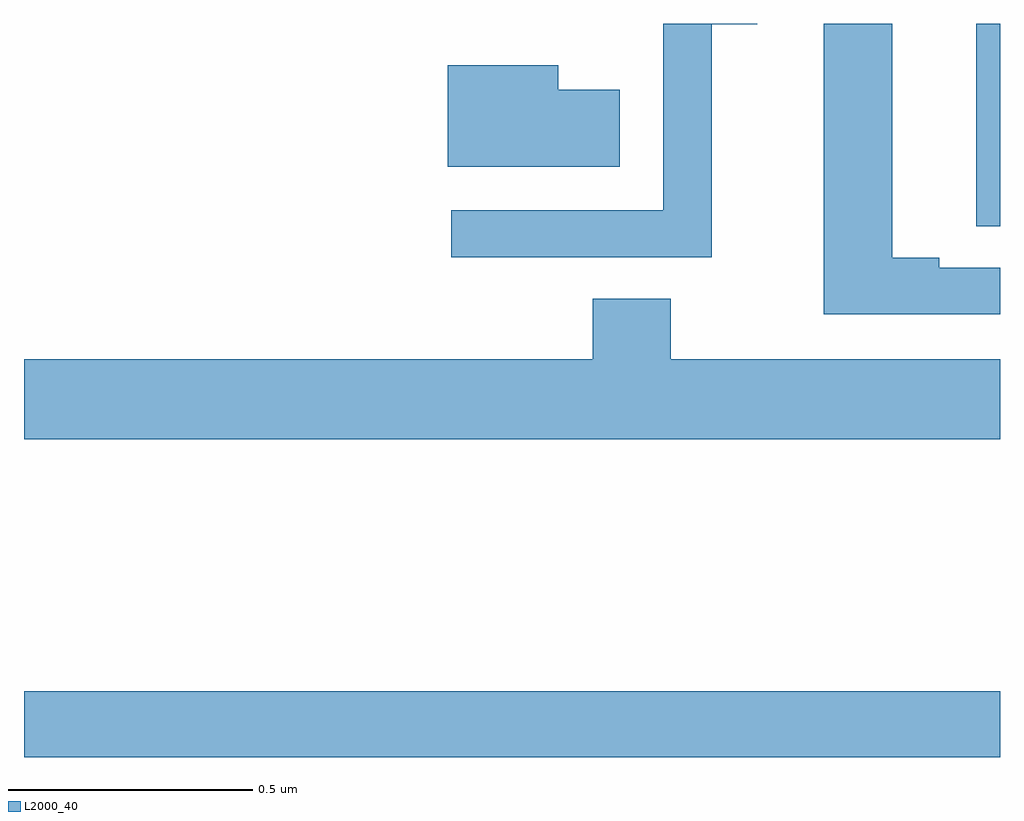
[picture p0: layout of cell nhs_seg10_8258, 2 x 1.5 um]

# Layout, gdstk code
import gdstk
lib = gdstk.Library(unit=1e-6, precision=1e-09)
def R(c, l, rs):  # rectangles x0, y0, x1, y1
    for r in rs: c.add(gdstk.rectangle(r[:2], r[2:], *l))
def P(c, l, *ps):  # polygons
    for p in ps: c.add(gdstk.Polygon(p, *l))
L2000_40 = (2000, 40)

nhs_seg10_8258 = lib.new_cell('nhs_seg10_8258')
R(nhs_seg10_8258, L2000_40, [(214,1300.996,216,1301.132), (215.951,1302.085,216,1302.5)])
P(nhs_seg10_8258, L2000_40, [(216,1302),(215.875,1302),(215.875,1302.02),(215.779,1302.02),(215.779,1302.5),(215.639,1302.5),(215.639,1301.904),(216,1301.904)],
  [(215.409,1302.499),(215.503,1302.499),(215.503,1302.5),(215.31,1302.5),(215.31,1302.117),(214.875,1302.117),(214.875,1302.021),(215.409,1302.021)],
  [(215.221,1302.364),(215.095,1302.364),(215.095,1302.415),(214.868,1302.415),(214.868,1302.206),(215.221,1302.206)],
  [(216,1301.812),(215.325,1301.812),(215.325,1301.936),(215.165,1301.936),(215.165,1301.812),(214,1301.812),(214,1301.648),(216,1301.648)])

lib.write_gds('nhs_seg10_8258.gds')
